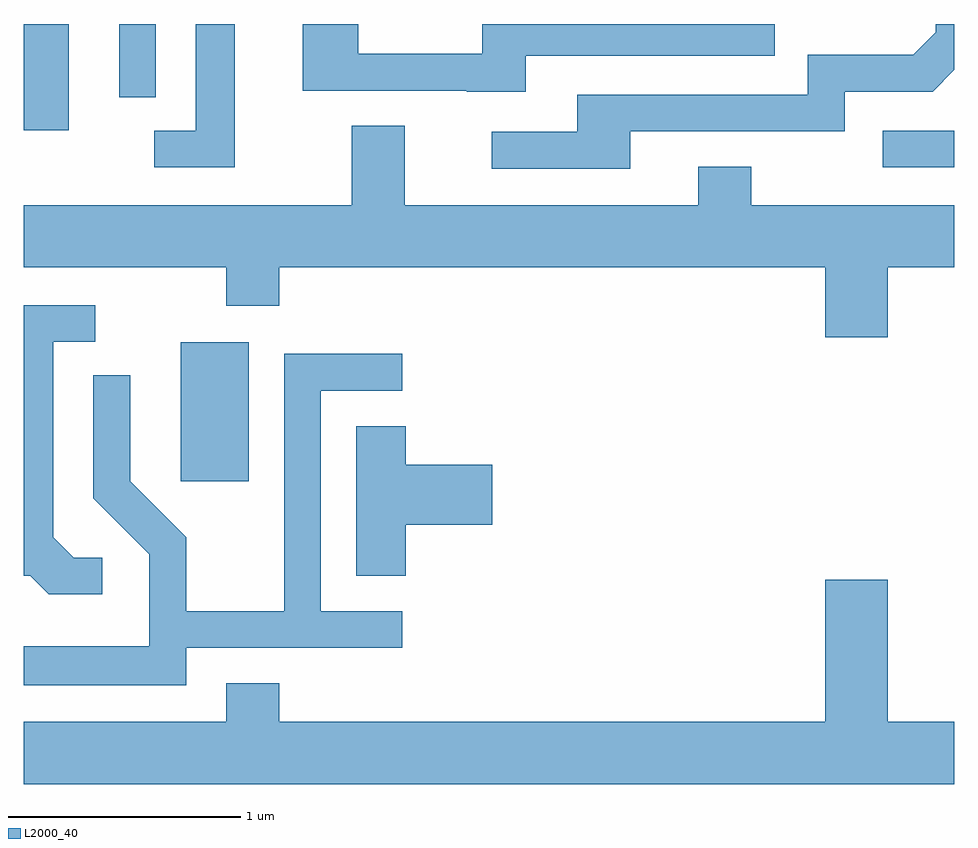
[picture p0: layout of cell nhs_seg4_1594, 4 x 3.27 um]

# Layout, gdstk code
import gdstk
lib = gdstk.Library(unit=1e-6, precision=1e-09)
def R(c, l, rs):  # rectangles x0, y0, x1, y1
    for r in rs: c.add(gdstk.rectangle(r[:2], r[2:], *l))
def P(c, l, *ps):  # polygons
    for p in ps: c.add(gdstk.Polygon(p, *l))
L2000_40 = (2000, 40)

nhs_seg4_1594 = lib.new_cell('nhs_seg4_1594')
R(nhs_seg4_1594, L2000_40, [(232.286,1316.016,232.579,1316.614), (235.303,1317.366,235.611,1317.524), (231.611,1317.526,231.804,1317.982), (232.021,1317.668,232.179,1317.982)])
P(nhs_seg4_1594, L2000_40, [(233.769,1317.846),(234.838,1317.846),(234.838,1317.982),(233.581,1317.982),(233.581,1317.854),(233.049,1317.854),(233.049,1317.982),(232.811,1317.982),(232.811,1317.696),(233.515,1317.696),(233.515,1317.691),(233.769,1317.691)],
  [(234.219,1317.521),(235.139,1317.521),(235.139,1317.691),(235.517,1317.691),(235.611,1317.786),(235.611,1317.982),(235.531,1317.982),(235.531,1317.947),(235.434,1317.849),(234.981,1317.849),(234.981,1317.679),(233.991,1317.679),(233.991,1317.519),(233.623,1317.519),(233.623,1317.361),(234.219,1317.361)],
  [(232.519,1317.982),(232.351,1317.982),(232.351,1317.524),(232.173,1317.524),(232.173,1317.366),(232.519,1317.366)],
  [(235.324,1316.936),(235.611,1316.936),(235.611,1317.204),(234.739,1317.204),(234.739,1317.369),(234.511,1317.369),(234.511,1317.204),(233.249,1317.204),(233.249,1317.544),(233.021,1317.544),(233.021,1317.204),(231.611,1317.204),(231.611,1316.936),(232.481,1316.936),(232.481,1316.771),(232.709,1316.771),(232.709,1316.936),(235.056,1316.936),(235.056,1316.636),(235.324,1316.636)],
  [(231.948,1315.689),(231.827,1315.689),(231.739,1315.777),(231.739,1316.616),(231.918,1316.616),(231.918,1316.774),(231.611,1316.774),(231.611,1315.611),(231.639,1315.611),(231.719,1315.531),(231.948,1315.531)],
  [(232.309,1315.301),(233.238,1315.301),(233.238,1315.459),(232.889,1315.459),(232.889,1316.406),(233.238,1316.406),(233.238,1316.564),(232.731,1316.564),(232.731,1315.459),(232.309,1315.459),(232.309,1315.777),(232.069,1316.017),(232.069,1316.473),(231.911,1316.473),(231.911,1315.944),(232.151,1315.704),(232.151,1315.309),(231.611,1315.309),(231.611,1315.141),(232.309,1315.141)],
  [(233.254,1315.831),(233.624,1315.831),(233.624,1316.089),(233.254,1316.089),(233.254,1316.254),(233.041,1316.254),(233.041,1315.611),(233.254,1315.611)],
  [(235.611,1314.984),(235.324,1314.984),(235.324,1315.594),(235.056,1315.594),(235.056,1314.984),(232.709,1314.984),(232.709,1315.149),(232.481,1315.149),(232.481,1314.984),(231.611,1314.984),(231.611,1314.716),(235.611,1314.716)])

lib.write_gds('nhs_seg4_1594.gds')
